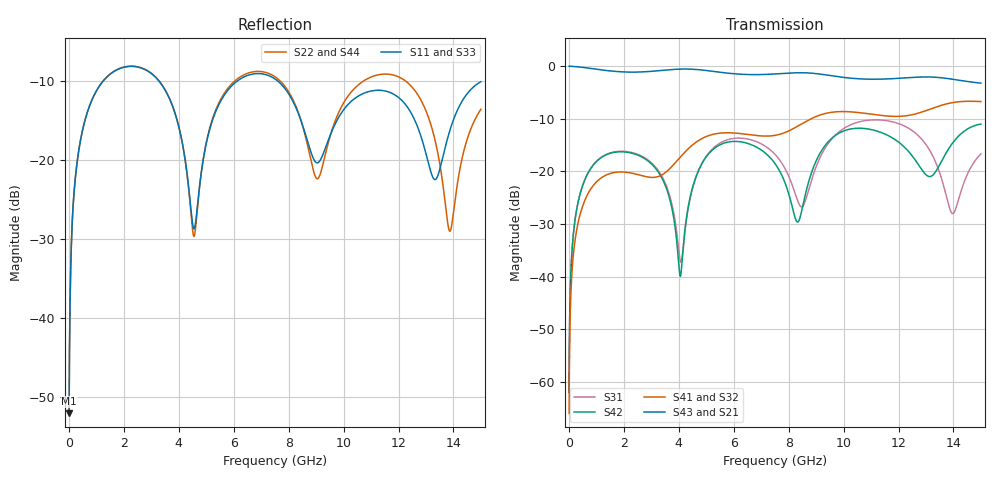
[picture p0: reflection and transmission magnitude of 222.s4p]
! Created with skrf 1.8.0 (http://scikit-rf.org).
# GHz S RI R 50.0
!freq ReS11 ImS11 ReS12 ImS12 ReS13 ImS13
! ReS14 ImS14
! ReS21 ImS21 ReS22 ImS22 ReS23 ImS23
! ReS24 ImS24
! ReS31 ImS31 ReS32 ImS32 ReS33 ImS33
! ReS34 ImS34
! ReS41 ImS41 ReS42 ImS42 ReS43 ImS43
! ReS44 ImS44
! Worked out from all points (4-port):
!   2499 points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, 5 MHz to 15 GHz, reference 50 ohm
!   strongest paths, dB at 5 MHz, 3.476 GHz, 7.19 GHz, 11.1 GHz, 15 GHz:
!     S43: 0.0, -0.8, -1.6, -2.5, -3.2
!     S21: 0.0, -0.8, -1.6, -2.5, -3.2
!     S41: -66.0, -20.4, -13.3, -9.2, -6.7
!     S32: -66.0, -20.4, -13.3, -9.3, -6.8
!     S42: -62.0, -22.3, -16.7, -12.2, -11.0
!     S31: -62.0, -21.9, -15.4, -10.2, -16.7
!   lowest |S11| = -52.1 dB at 5 MHz (marker M1), VSWR 1.00, Z = 50.2 + j0.15 ohm
!   |S11| at or under -10 dB: start of sweep to 1.238 GHz; 3.283 GHz to 6.117 GHz (2.834 GHz wide, 60.3 % of centre); 7.613 GHz to end of sweep
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0.005  0.00197 0.0015  0.998 -0.00383  0.0001 0.000787  -9.73e-05 -0.000493
       0.998 -0.00383  0.00197 0.0015  -9.73e-05 -0.000493  0.0001 0.000787
       0.0001 0.000787  -9.73e-05 -0.000493  0.00197 0.0015  0.998 -0.00383
       -9.73e-05 -0.000493  0.0001 0.000787  0.998 -0.00383  0.00197 0.0015
0.3126303  0.0328 0.0966  0.9549 -0.2366  0.0157 0.0455  -0.0129 -0.0279
           0.9549 -0.2366  0.0329 0.0966  -0.0129 -0.0279  0.0154 0.0456
           0.0157 0.0455  -0.0129 -0.0279  0.0328 0.0966  0.9549 -0.2366
           -0.0129 -0.0279  0.0154 0.0456  0.9549 -0.2366  0.0329 0.0966
1.3193  0.2773 0.1754  0.5333 -0.7377  0.1315 0.0569  -0.0913 -0.00375
        0.5333 -0.7377  0.2784 0.1746  -0.0912 -0.00381  0.1285 0.0612
        0.1315 0.0569  -0.0912 -0.00381  0.2773 0.1753  0.5334 -0.7377
        -0.0913 -0.00375  0.1285 0.0612  0.5334 -0.7377  0.2783 0.1746
4.445602  0.037 -0.0306  -0.9259 -0.1289  -0.00395 0.0601  -0.0205 0.1722
          -0.9259 -0.1289  0.033 -0.0308  -0.0216 0.1721  -0.00645 0.0616
          -0.00395 0.0601  -0.0216 0.1721  0.0363 -0.0293  -0.926 -0.1287
          -0.0205 0.1722  -0.00645 0.0616  -0.926 -0.1287  0.0332 -0.0295
9.091288  0.0968 -0.00176  0.8324 0.1308  0.00403 0.1263  0.0416 -0.3364
          0.8324 0.1308  0.0772 0.0019  0.0448 -0.3356  -0.0142 0.1397
          0.00403 0.1263  0.0448 -0.3356  0.0992 0.00049  0.8322 0.1328
          0.0416 -0.3364  -0.0142 0.1397  0.8322 0.1328  0.0744 0.00231
12.04252  0.2327 -0.08  -0.1084 -0.7576  0.1642 -0.2289  -0.3094 0.1237
          -0.1084 -0.7576  0.3015 -0.1451  -0.3097 0.1168  0.1828 -0.035
          0.1642 -0.2289  -0.3097 0.1168  0.2319 -0.082  -0.1039 -0.7592
          -0.3094 0.1237  0.1828 -0.035  -0.1039 -0.7592  0.2985 -0.1401
15  0.2929 0.1134  -0.5691 0.3923  0.1458 0.0141  0.3171 0.3336
    -0.5691 0.3923  0.1779 0.1117  0.3083 0.3388  0.2807 0.016
    0.1458 0.0141  0.3083 0.3388  0.2994 0.1209  -0.5721 0.3847
    0.3171 0.3336  0.2807 0.016  -0.5721 0.3847  0.175 0.1203
